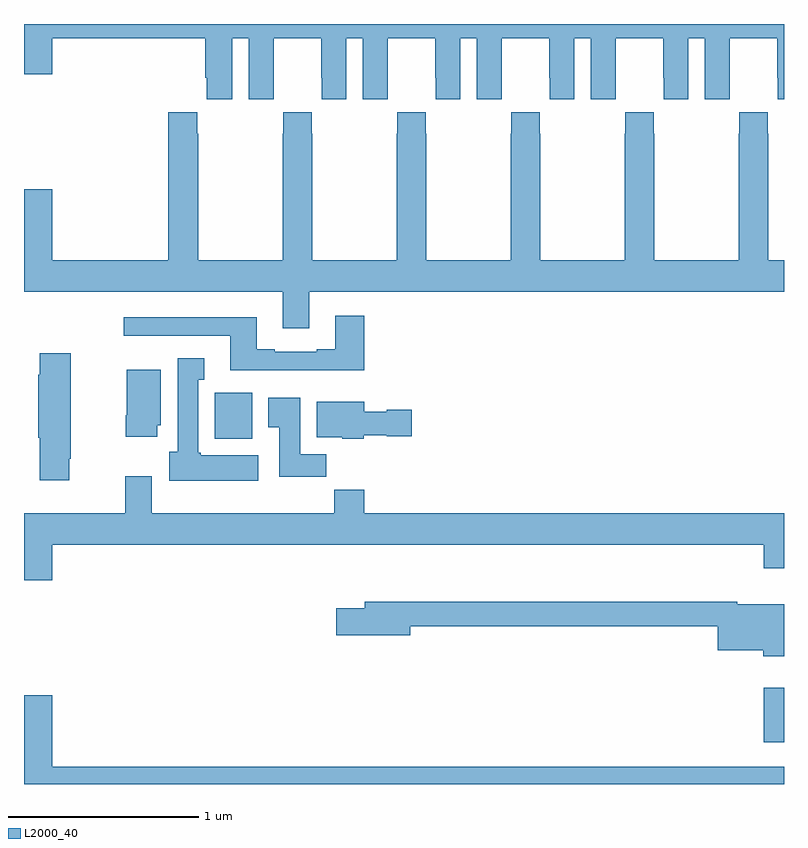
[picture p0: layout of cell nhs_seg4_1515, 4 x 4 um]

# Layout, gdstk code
import gdstk
lib = gdstk.Library(unit=1e-6, precision=1e-09)
def R(c, l, rs):  # rectangles x0, y0, x1, y1
    for r in rs: c.add(gdstk.rectangle(r[:2], r[2:], *l))
def P(c, l, *ps):  # polygons
    for p in ps: c.add(gdstk.Polygon(p, *l))
L2000_40 = (2000, 40)

nhs_seg4_1515 = lib.new_cell('nhs_seg4_1515')
R(nhs_seg4_1515, L2000_40, [(192.893,789.12,193,789.406), (190.004,790.718,190.201,790.96)])
P(nhs_seg4_1515, L2000_40, [(190.096,792.824),(190.184,792.824),(190.184,792.504),(190.314,792.504),(190.314,792.616),(190.315,792.616),(190.315,792.824),(190.565,792.824),(190.565,792.616),(190.566,792.616),(190.566,792.504),(190.696,792.504),(190.696,792.824),(190.784,792.824),(190.784,792.504),(190.914,792.504),(190.914,792.616),(190.915,792.616),(190.915,792.824),(191.165,792.824),(191.165,792.616),(191.166,792.616),(191.166,792.504),(191.296,792.504),(191.296,792.824),(191.384,792.824),(191.384,792.504),(191.514,792.504),(191.514,792.616),(191.515,792.616),(191.515,792.824),(191.765,792.824),(191.765,792.616),(191.766,792.616),(191.766,792.504),(191.896,792.504),(191.896,792.824),(191.984,792.824),(191.984,792.504),(192.114,792.504),(192.114,792.616),(192.115,792.616),(192.115,792.824),(192.365,792.824),(192.365,792.616),(192.366,792.616),(192.366,792.504),(192.496,792.504),(192.496,792.824),(192.584,792.824),(192.584,792.504),(192.714,792.504),(192.714,792.616),(192.715,792.616),(192.715,792.824),(192.965,792.824),(192.965,792.616),(192.966,792.616),(192.966,792.504),(193,792.504),(193,792.9),(189,792.9),(189,792.636),(189.148,792.636),(189.148,792.824),(189.953,792.824),(189.953,792.616),(189.962,792.616),(189.962,792.504),(190.096,792.504)],
  [(193,791.656),(192.918,791.656),(192.918,792.323),(192.915,792.323),(192.915,792.436),(192.765,792.436),(192.765,792.323),(192.763,792.323),(192.763,791.656),(192.318,791.656),(192.318,792.323),(192.315,792.323),(192.315,792.436),(192.165,792.436),(192.165,792.323),(192.163,792.323),(192.163,791.656),(191.718,791.656),(191.718,792.323),(191.715,792.323),(191.715,792.436),(191.565,792.436),(191.565,792.323),(191.563,792.323),(191.563,791.656),(191.118,791.656),(191.118,792.323),(191.115,792.323),(191.115,792.436),(190.965,792.436),(190.965,792.323),(190.963,792.323),(190.963,791.656),(190.518,791.656),(190.518,792.323),(190.515,792.323),(190.515,792.436),(190.365,792.436),(190.365,792.323),(190.363,792.323),(190.363,791.656),(189.918,791.656),(189.918,792.323),(189.911,792.323),(189.911,792.436),(189.758,792.436),(189.758,791.656),(189.148,791.656),(189.148,792.031),(189,792.031),(189,791.492),(190.361,791.492),(190.361,791.298),(190.501,791.298),(190.501,791.492),(193,791.492)],
  [(190.79,791.365),(190.637,791.365),(190.637,791.188),(190.541,791.188),(190.541,791.175),(190.321,791.175),(190.321,791.188),(190.225,791.188),(190.225,791.356),(189.525,791.356),(189.525,791.259),(190.085,791.259),(190.085,791.078),(190.79,791.078)],
  [(189.238,790.612),(189.246,790.612),(189.246,791.167),(189.083,791.167),(189.083,791.054),(189.076,791.054),(189.076,790.723),(189.083,790.723),(189.083,790.5),(189.238,790.5)],
  [(190.234,790.63),(189.93,790.63),(189.93,790.644),(189.916,790.644),(189.916,791.027),(189.949,791.027),(189.949,791.14),(189.809,791.14),(189.809,790.65),(189.764,790.65),(189.764,790.496),(190.234,790.496)],
  [(189.7,790.788),(189.721,790.788),(189.721,791.08),(189.542,791.08),(189.542,790.84),(189.535,790.84),(189.535,790.728),(189.7,790.728)],
  [(190.592,790.636),(190.453,790.636),(190.453,790.933),(190.286,790.933),(190.286,790.777),(190.343,790.777),(190.343,790.518),(190.592,790.518)],
  [(190.788,790.736),(190.908,790.736),(190.908,790.729),(191.041,790.729),(191.041,790.871),(190.908,790.871),(190.908,790.858),(190.792,790.858),(190.792,790.912),(190.541,790.912),(190.541,790.724),(190.674,790.724),(190.674,790.718),(190.788,790.718)],
  [(189.148,790.16),(192.893,790.16),(192.893,790.036),(193,790.036),(193,790.324),(190.79,790.324),(190.79,790.448),(190.633,790.448),(190.633,790.324),(189.673,790.324),(189.673,790.519),(189.533,790.519),(189.533,790.324),(189,790.324),(189,789.972),(189.148,789.972)],
  [(193,789.847),(192.754,789.847),(192.754,789.859),(190.793,789.859),(190.793,789.825),(190.644,789.825),(190.644,789.683),(191.032,789.683),(191.032,789.73),(192.65,789.73),(192.65,789.605),(192.89,789.605),(192.89,789.572),(193,789.572)],
  [(193,788.992),(189.148,788.992),(189.148,789.367),(189,789.367),(189,788.9),(193,788.9)])

lib.write_gds('nhs_seg4_1515.gds')
